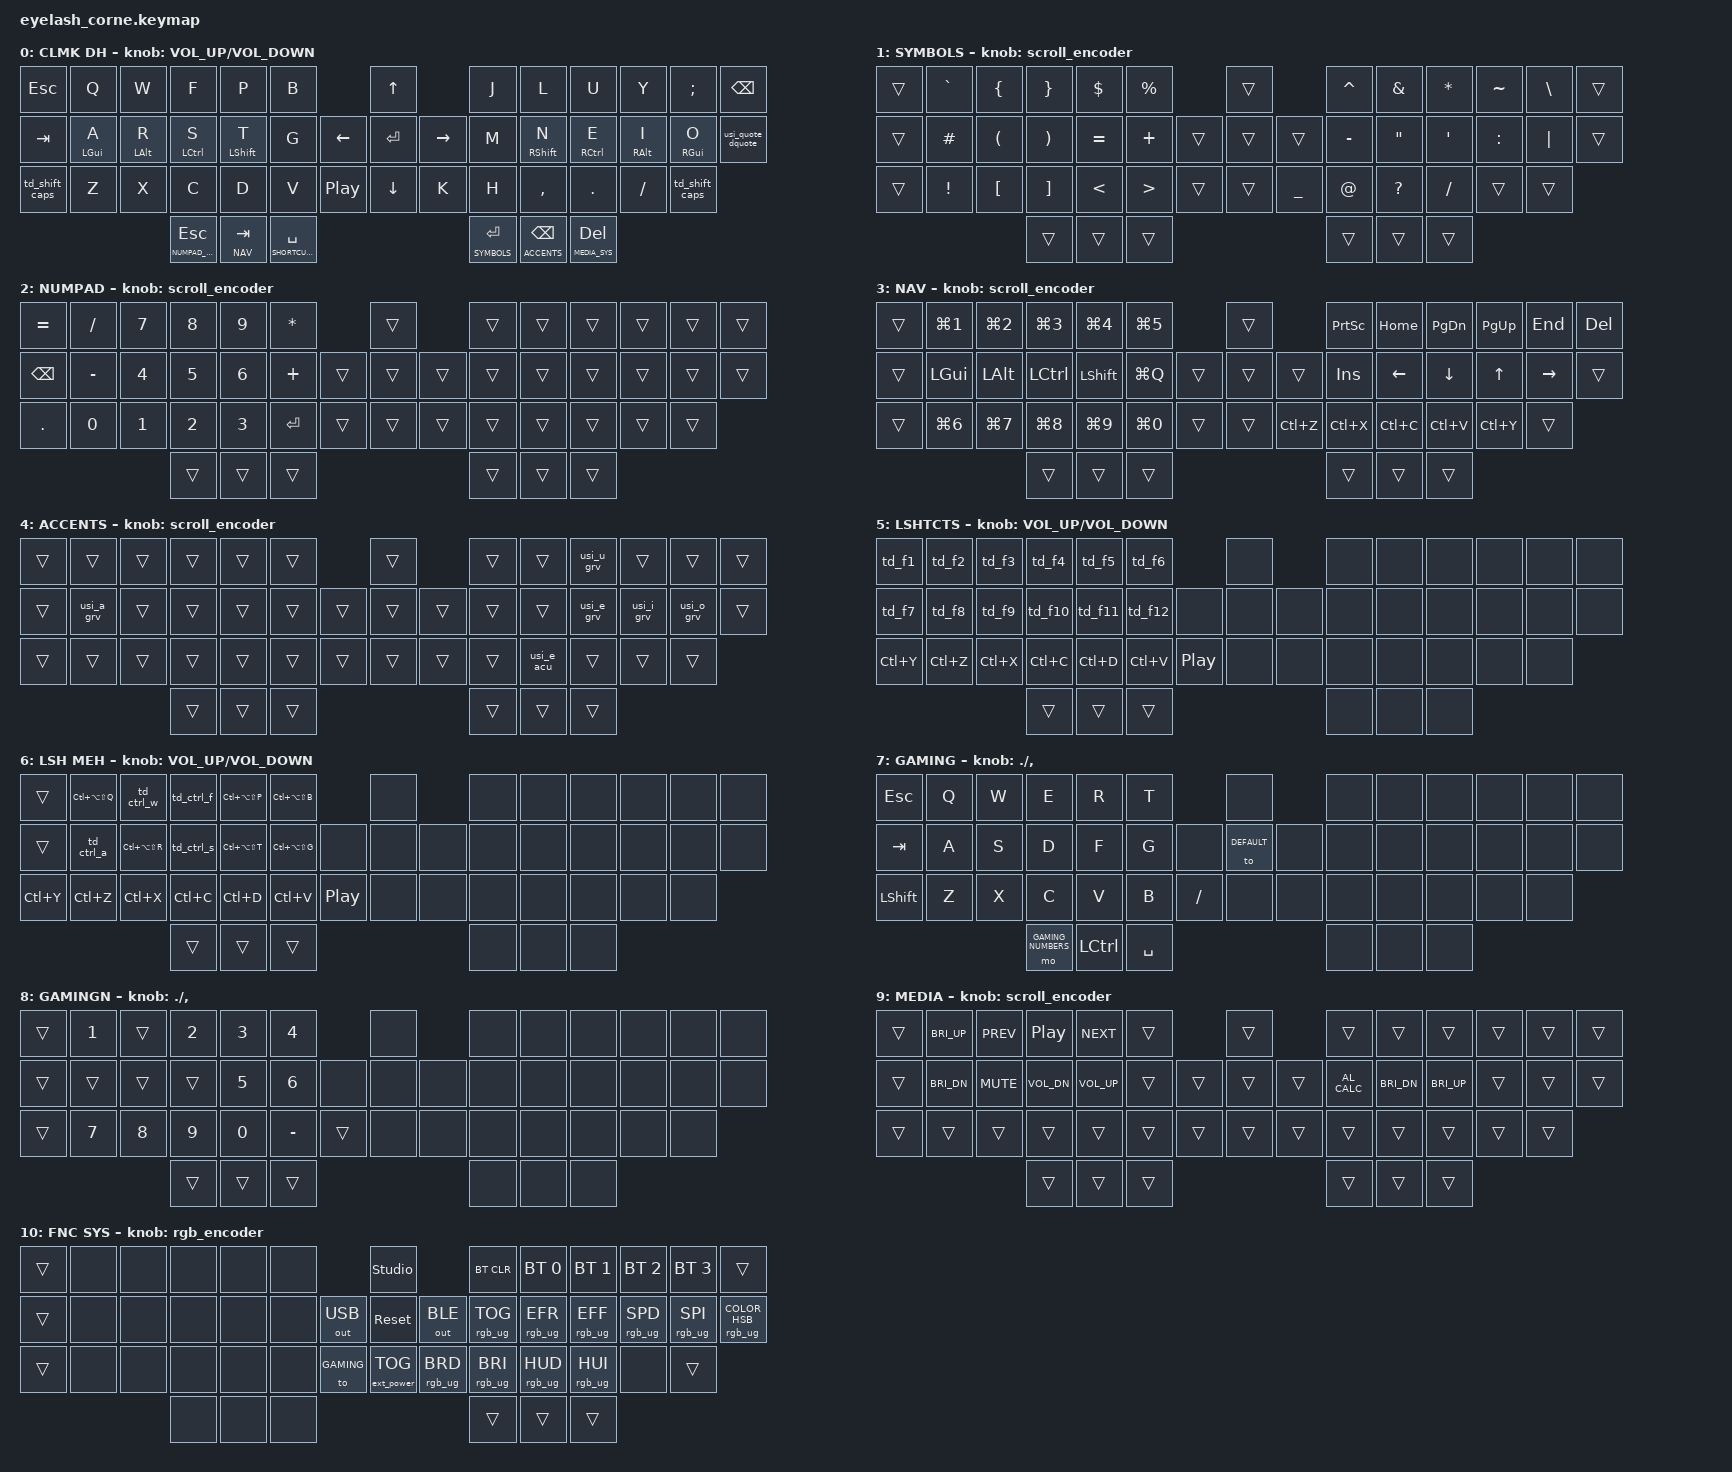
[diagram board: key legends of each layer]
#define ZMK_POINTING_DEFAULT_MOVE_VAL 1200
#define ZMK_POINTING_DEFAULT_SCRL_VAL 25

#define DEFAULT           0
#define SYMBOLS           1
#define NUMPAD_LH         2
#define NAV               3
#define ACCENTS           4
#define SHORTCUTS_F       5
#define SHORTCUTS_MEH     6
#define GAMING            7
#define GAMING_NUMBERS    8
#define MEDIA_SYS         9
#define FUNCTION_SYSTEM   10

#include <input/processors.dtsi>
#include <zephyr/dt-bindings/input/input-event-codes.h>
#include <dt-bindings/zmk/modifiers.h>
#include <behaviors.dtsi>
#include <dt-bindings/zmk/bt.h>
#include <dt-bindings/zmk/ext_power.h>
#include <dt-bindings/zmk/keys.h>
#include <dt-bindings/zmk/outputs.h>
#include <dt-bindings/zmk/pointing.h>
#include <dt-bindings/zmk/rgb.h>

&mmv_input_listener { input-processors = <&zip_xy_scaler 2 1>; };

&msc_input_listener { input-processors = <&zip_scroll_scaler 2 1>; };

&msc {
    acceleration-exponent = <1>;
    time-to-max-speed-ms = <100>;
    delay-ms = <0>;
};

&mmv {
    time-to-max-speed-ms = <500>;
    acceleration-exponent = <1>;
    trigger-period-ms = <16>;
};

&soft_off { hold-time-ms = <2000>; };

/ {
    macros {
        usi_a_grv: usi_a_grv {
            compatible = "zmk,behavior-macro";
            #binding-cells = <0>;
            bindings = <&kp GRAVE &kp A>;
        };

        usi_e_grv: usi_e_grv {
            compatible = "zmk,behavior-macro";
            #binding-cells = <0>;
            bindings = <&kp GRAVE &kp E>;
        };

        usi_e_acu: usi_e_acu {
            compatible = "zmk,behavior-macro";
            #binding-cells = <0>;
            bindings = <&kp SQT &kp E>;
        };

        usi_i_grv: usi_i_grv {
            compatible = "zmk,behavior-macro";
            #binding-cells = <0>;
            bindings = <&kp GRAVE &kp I>;
        };

        usi_o_grv: usi_o_grv {
            compatible = "zmk,behavior-macro";
            #binding-cells = <0>;
            bindings = <&kp GRAVE &kp O>;
        };

        usi_u_grv: usi_u_grv {
            compatible = "zmk,behavior-macro";
            #binding-cells = <0>;
            bindings = <&kp GRAVE &kp U>;
        };

        usi_quote: usi_quote {
            compatible = "zmk,behavior-macro";
            #binding-cells = <0>;
            bindings = <&kp SQT &kp SPACE>;
            label = "USI_QUOTE";
        };

        usi_dquote: usi_dquote {
            compatible = "zmk,behavior-macro";
            #binding-cells = <0>;
            bindings = <&kp DQT &kp SPACE>;
            label = "USI_DQTE";
        };

        usi_grave: usi_grave {
            compatible = "zmk,behavior-macro";
            #binding-cells = <0>;
            bindings = <&kp GRAVE &kp SPACE>;
            label = "USI_GRAVE";
        };

        usi_tilde: usi_tilde {
            compatible = "zmk,behavior-macro";
            #binding-cells = <0>;
            bindings = <&kp TILDE &kp SPACE>;
            label = "USI_TILDE";
        };

        usi_caret: usi_caret {
            compatible = "zmk,behavior-macro";
            #binding-cells = <0>;
            bindings = <&kp TILDE &kp SPACE>;
            label = "USI_CARET";
        };
    };

    behaviors {
        hm: homerow_mods {
            compatible = "zmk,behavior-hold-tap";
            display-name = "HOMEROW_MODS";
            #binding-cells = <2>;
            tapping-term-ms = <200>;
            quick-tap-ms = <175>;
            flavor = "tap-preferred";
            bindings = <&kp>, <&kp>;
        };

        td_shift_caps: td_shift_caps {
            compatible = "zmk,behavior-tap-dance";
            display-name = "Shift/Caps Lock Tap Dance";
            #binding-cells = <0>;
            bindings = <&kp LEFT_SHIFT>, <&kp CAPS>;
            label = "LSHIFT/CAPS Tap Dance";
        };

        // Tap-Dance F1..F12 (1 tap) e F13..F24 (2 tap)
        td_f1: td_f1 { compatible = "zmk,behavior-tap-dance"; #binding-cells = <0>; tapping-term-ms = <200>; bindings = <&kp F1>, <&kp F13>; };
        td_f2: td_f2 { compatible = "zmk,behavior-tap-dance"; #binding-cells = <0>; tapping-term-ms = <200>; bindings = <&kp F2>, <&kp F14>; };
        td_f3: td_f3 { compatible = "zmk,behavior-tap-dance"; #binding-cells = <0>; tapping-term-ms = <200>; bindings = <&kp F3>, <&kp F15>; };
        td_f4: td_f4 { compatible = "zmk,behavior-tap-dance"; #binding-cells = <0>; tapping-term-ms = <200>; bindings = <&kp F4>, <&kp F16>; };
        td_f5: td_f5 { compatible = "zmk,behavior-tap-dance"; #binding-cells = <0>; tapping-term-ms = <200>; bindings = <&kp F5>, <&kp F17>; };
        td_f6: td_f6 { compatible = "zmk,behavior-tap-dance"; #binding-cells = <0>; tapping-term-ms = <200>; bindings = <&kp F6>, <&kp F18>; };
        td_f7: td_f7 { compatible = "zmk,behavior-tap-dance"; #binding-cells = <0>; tapping-term-ms = <200>; bindings = <&kp F7>, <&kp F19>; };
        td_f8: td_f8 { compatible = "zmk,behavior-tap-dance"; #binding-cells = <0>; tapping-term-ms = <200>; bindings = <&kp F8>, <&kp F20>; };
        td_f9: td_f9 { compatible = "zmk,behavior-tap-dance"; #binding-cells = <0>; tapping-term-ms = <200>; bindings = <&kp F9>, <&kp F21>; };
        td_f10: td_f10 { compatible = "zmk,behavior-tap-dance"; #binding-cells = <0>; tapping-term-ms = <200>; bindings = <&kp F10>, <&kp F22>; };
        td_f11: td_f11 { compatible = "zmk,behavior-tap-dance"; #binding-cells = <0>; tapping-term-ms = <200>; bindings = <&kp F11>, <&kp F23>; };
        td_f12: td_f12 { compatible = "zmk,behavior-tap-dance"; #binding-cells = <0>; tapping-term-ms = <200>; bindings = <&kp F12>, <&kp F24>; };

        // Tap-Dance per scorciatoie Colemak-DH (1 tap = Ctrl, 2 tap = Meh)
        td_ctrl_a: td_ctrl_a { compatible = "zmk,behavior-tap-dance"; #binding-cells = <0>; tapping-term-ms = <200>; bindings = <&kp LC(A)>, <&kp LC(LA(LS(A)))>; };
        td_ctrl_w: td_ctrl_w { compatible = "zmk,behavior-tap-dance"; #binding-cells = <0>; tapping-term-ms = <200>; bindings = <&kp LC(W)>, <&kp LC(LA(LS(W)))>; };
        td_ctrl_f: td_ctrl_f { compatible = "zmk,behavior-tap-dance"; #binding-cells = <0>; tapping-term-ms = <200>; bindings = <&kp LC(F)>, <&kp LC(LA(LS(F)))>; };
        td_ctrl_s: td_ctrl_s { compatible = "zmk,behavior-tap-dance"; #binding-cells = <0>; tapping-term-ms = <200>; bindings = <&kp LC(S)>, <&kp LC(LA(LS(S)))>; };

        rgb_encoder: rgb_encoder {
            compatible = "zmk,behavior-sensor-rotate";
            #sensor-binding-cells = <0>;
            bindings = <&rgb_ug RGB_BRI>, <&rgb_ug RGB_BRD>;
        };

        scroll_encoder: scroll_encoder {
            compatible = "zmk,behavior-sensor-rotate";
            #sensor-binding-cells = <0>;
            bindings = <&msc SCRL_DOWN>, <&msc SCRL_UP>;
            tap-ms = <100>;
        };

        usi_quote_dquote: usi_quote_dquote {
            compatible = "zmk,behavior-mod-morph";
            label = "USI_QUOTE_DQUOTE";
            bindings = <&usi_quote>, <&usi_dquote>;
            #binding-cells = <0>;
            mods = <(MOD_LSFT|MOD_RSFT)>;
        };
    };

    combos {
        compatible = "zmk,combos";

        combo_fnc_sys {
            bindings = <&mo FUNCTION_SYSTEM>;
            key-positions = <42 47>;
            layers = <0>;
            timeout-ms = <50>;
        };

        combo_shortcuts_meh {
            bindings = <&mo SHORTCUTS_MEH>;
            key-positions = <43 44>;
            layers = <0>;
            timeout-ms = <50>;
        };
    };

    keymap {
        compatible = "zmk,keymap";

        /* Layer 0: Colemak-DH con Home Row Mods GACS */
        COLEMAK_DH {
            display-name = "CLMK DH";
            bindings = <
&kp ESC         &kp Q       &kp W       &kp F              &kp P                &kp B                                                               &kp UP               &kp J    &kp L              &kp U              &kp Y       &kp SEMI     &kp BACKSPACE
&kp TAB         &hm LGUI A  &hm LALT R  &hm LCTRL S        &hm LSHFT T          &kp G                                                       &kp LEFT  &kp RET   &kp RIGHT  &kp M    &hm RSHFT N        &hm RCTRL E        &hm RALT I  &hm RGUI O   &usi_quote_dquote
&td_shift_caps  &kp Z       &kp X       &kp C              &kp D                &kp V          &kp C_PLAY_PAUSE                             &kp DOWN             &kp K    &kp H              &kp COMMA          &kp DOT     &kp SLASH    &td_shift_caps
                                        &lt NUMPAD_LH ESC  &lt NAV TAB          &lt SHORTCUTS_F SPACE                                                            &lt SYMBOLS RET     &lt ACCENTS BACKSPACE  &lt MEDIA_SYS DELETE
            >;

            sensor-bindings = <&inc_dec_kp C_VOLUME_UP C_VOLUME_DOWN>;
        };

        /* Layer 1: Simboli (Underscore sotto al trattino, < e > affiancati) */
        SYMBOLS {
            display-name = "SYMBOLS";
            bindings = <
&trans  &kp GRAVE  &kp LBRC  &kp RBRC  &kp DLLR  &kp PRCNT                                      &trans          &kp CARET  &kp AMPS       &kp ASTRK  &kp TILDE  &kp BSLH   &trans
&trans  &kp HASH   &kp LPAR  &kp RPAR  &kp EQUAL &kp PLUS                               &trans  &trans  &trans  &kp MINUS  &kp DQT        &kp SQT    &kp COLON  &kp PIPE   &trans
&trans  &kp EXCL   &kp LBKT  &kp RBKT  &kp LT    &kp GT     &trans                              &trans          &kp UNDER  &kp AT         &kp QMARK  &kp SLASH  &trans     &trans
                             &trans    &trans    &trans                                                             &trans     &trans         &trans
            >;

            sensor-bindings = <&scroll_encoder>;
        };

        /* Layer 2: Numpad completo su colonne 0-5 (Roller a trans, Enter a Col 5) */
        NUMPAD_LH {
            display-name = "NUMPAD";
            bindings = <
&kp EQUAL  &kp SLASH  &kp N7  &kp N8  &kp N9  &kp ASTRK                                 &trans          &trans  &trans  &trans  &trans  &trans  &trans
&kp BSPC   &kp MINUS  &kp N4  &kp N5  &kp N6  &kp PLUS                          &trans  &trans  &trans  &trans  &trans  &trans  &trans  &trans  &trans
&kp DOT    &kp N0     &kp N1  &kp N2  &kp N3  &kp RET    &trans                         &trans          &trans  &trans  &trans  &trans  &trans  &trans
                      &trans  &trans  &trans                                            &trans          &trans  &trans
            >;

            sensor-bindings = <&scroll_encoder>;
        };

/* Layer 3: Navigazione cursore & Workspace (Frecce Vim su N-E-I-O) */
        NAV {
            display-name = "NAV";
            bindings = <
&trans  &kp LG(N1)  &kp LG(N2)  &kp LG(N3)  &kp LG(N4)  &kp LG(N5)                                   &trans          &kp PSCRN  &kp HOME        &kp PG_DN  &kp PG_UP  &kp END      &kp DEL
&trans  &kp LGUI    &kp LALT    &kp LCTRL   &kp LSHFT   &kp LG(Q)                            &trans  &trans  &trans  &kp INS    &kp LEFT        &kp DOWN   &kp UP     &kp RIGHT    &trans
&trans  &kp LG(N6)  &kp LG(N7)  &kp LG(N8)  &kp LG(N9)  &kp LG(N0)  &trans                           &trans          &kp LC(Z)  &kp LC(X)       &kp LC(C)  &kp LC(V)  &kp LC(Y)    &trans
                                &trans      &trans      &trans                                                       &trans     &trans          &trans
            >;

            sensor-bindings = <&scroll_encoder>;
        };

        /* Layer 4: Vocali Accentuata Italiane su layout Colemak-DH */
        ACCENTS {
            display-name = "ACCENTS";
            bindings = <
&trans  &trans      &trans  &trans  &trans  &trans                    &trans          &trans  &trans  &usi_u_grv  &trans      &trans  &trans
&trans  &usi_a_grv  &trans  &trans  &trans  &trans            &trans  &trans  &trans  &trans  &trans  &usi_e_grv  &usi_i_grv  &usi_o_grv  &trans
&trans  &trans      &trans  &trans  &trans  &trans  &trans            &trans          &trans  &trans  &usi_e_acu  &trans      &trans  &trans
                            &trans  &trans  &trans                                    &trans  &trans  &trans
            >;

            sensor-bindings = <&scroll_encoder>;
        };

        /* Layer 5: Function Keys F1-F24 (Tap-Dance) e scorciatoie Ctrl a 1 mano */
        SHORTCUTS_F {
            display-name = "LSHTCTS";
            bindings = <
&td_f1     &td_f2     &td_f3     &td_f4     &td_f5     &td_f6                                &none         &none  &none  &none  &none  &none  &none
&td_f7     &td_f8     &td_f9     &td_f10    &td_f11    &td_f12                        &none  &none  &none  &none  &none  &none  &none  &none  &none
&kp LC(Y)  &kp LC(Z)  &kp LC(X)  &kp LC(C)  &kp LC(D)  &kp LC(V)  &kp C_PLAY_PAUSE           &none         &none  &none  &none  &none  &none  &none
                                 &trans     &trans     &trans                                              &none  &none  &none
            >;

            sensor-bindings = <&inc_dec_kp C_VOLUME_UP C_VOLUME_DOWN>;
        };

        /* Layer 6: Meh Modifiers (Ctrl+Alt+Shift) allineati su Colemak-DH */
        SHORTCUTS_MEH {
            display-name = "LSH MEH";
            bindings = <
&trans     &kp LC(LA(LS(Q)))  &td_ctrl_w         &td_ctrl_f         &kp LC(LA(LS(P)))  &kp LC(LA(LS(B)))                               &none         &none  &none  &none  &none  &none  &none
&trans     &td_ctrl_a         &kp LC(LA(LS(R)))  &td_ctrl_s         &kp LC(LA(LS(T)))  &kp LC(LA(LS(G)))                        &none  &none  &none  &none  &none  &none  &none  &none  &none
&kp LC(Y)  &kp LC(Z)          &kp LC(X)          &kp LC(C)          &kp LC(D)          &kp LC(V)          &kp C_PLAY_PAUSE           &none         &none  &none  &none  &none  &none  &none
                                                 &trans             &trans             &trans                                              &none  &none  &none
            >;

            sensor-bindings = <&inc_dec_kp C_VOLUME_UP C_VOLUME_DOWN>;
        };

        /* Layer 7: Gaming Standard WASD */
        GAMING {
            display-name = "GAMING";
            bindings = <
&kp ESC    &kp Q  &kp W  &kp E               &kp R      &kp T                          &none               &none  &none  &none  &none  &none  &none
&kp TAB    &kp A  &kp S  &kp D               &kp F      &kp G                  &none   &to DEFAULT  &none  &none  &none  &none  &none  &none  &none
&kp LSHFT  &kp Z  &kp X  &kp C               &kp V      &kp B      &kp SLASH           &none               &none  &none  &none  &none  &none  &none
                         &mo GAMING_NUMBERS  &kp LCTRL  &kp SPACE                                          &none  &none  &none
            >;

            sensor-bindings = <&inc_dec_kp DOT COMMA>;
        };

        /* Layer 8: Gaming Numeri Dedicati */
        GAMING_NUMBERS {
            display-name = "GAMINGN";
            bindings = <
&trans  &kp N1  &trans  &kp N2  &kp N3  &kp N4                      &none         &none  &none  &none  &none  &none  &none
&trans  &trans  &trans  &trans  &kp N5  &kp N6               &none  &none  &none  &none  &none  &none  &none  &none  &none
&trans  &kp N7  &kp N8  &kp N9  &kp N0  &kp MINUS  &trans           &none         &none  &none  &none  &none  &none  &none
                        &trans  &trans  &trans                                    &none  &none  &none
            >;

            sensor-bindings = <&inc_dec_kp DOT COMMA>;
        };

        /* Layer 9: Controllo Media, Volume e Luminosità */
        MEDIA_SYS {
            display-name = "MEDIA";
            bindings = <
&trans  &kp C_BRI_UP  &kp C_PREV  &kp C_PP      &kp C_NEXT    &trans                            &trans          &trans        &trans        &trans        &trans  &trans  &trans
&trans  &kp C_BRI_DN  &kp C_MUTE  &kp C_VOL_DN  &kp C_VOL_UP  &trans                    &trans  &trans  &trans  &kp C_AL_CALC &kp C_BRI_DN  &kp C_BRI_UP  &trans  &trans  &trans
&trans  &trans        &trans      &trans        &trans        &trans  &trans                    &trans          &trans        &trans        &trans        &trans  &trans  &trans
                                  &trans        &trans        &trans                                            &trans        &trans        &trans
            >;

            sensor-bindings = <&scroll_encoder>;
        };

        /* Layer 10: Hardware, Bluetooth, Profili e Reset (Solo Combo Esterna) */
        FUNCTION_SYSTEM {
            display-name = "FNC SYS";
            bindings = <
&trans  &none  &none  &none  &none  &none                                 &studio_unlock                    &bt BT_CLR       &bt BT_SEL 0     &bt BT_SEL 1     &bt BT_SEL 2     &bt BT_SEL 3     &trans
&trans  &none  &none  &none  &none  &none                  &out OUT_USB  &sys_reset        &out OUT_BLE    &rgb_ug RGB_TOG  &rgb_ug RGB_EFR  &rgb_ug RGB_EFF  &rgb_ug RGB_SPD  &rgb_ug RGB_SPI  &rgb_ug RGB_COLOR_HSB(0,0,100)
&trans  &none  &none  &none  &none  &none  &to GAMING                  &ext_power EP_TOG                   &rgb_ug RGB_BRD  &rgb_ug RGB_BRI  &rgb_ug RGB_HUD  &rgb_ug RGB_HUI  &none            &trans
                      &none  &none  &none                                                                    &trans           &trans           &trans
            >;

            sensor-bindings = <&rgb_encoder>;
        };
    };
};
